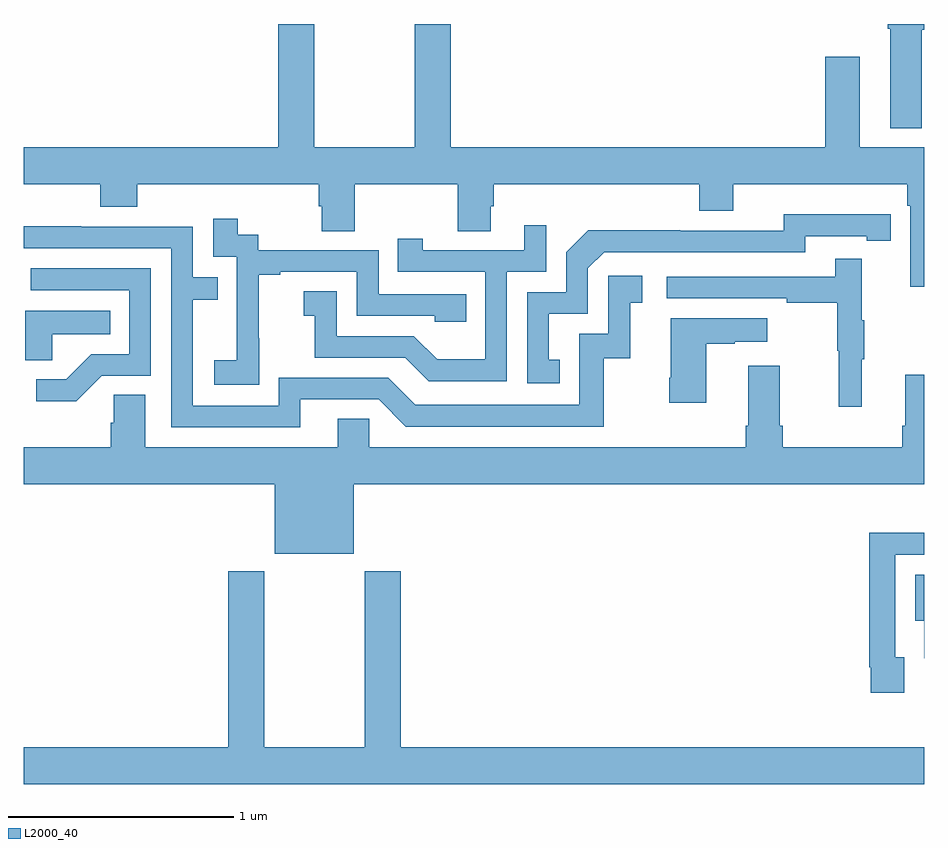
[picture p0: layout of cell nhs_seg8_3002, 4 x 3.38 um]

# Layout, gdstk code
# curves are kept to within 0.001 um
import gdstk
lib = gdstk.Library(unit=1e-6, precision=1e-09)
def P(c, l, *ps):  # polygons
    for p in ps: c.add(gdstk.Polygon(p, *l))
L2000_40 = (2000, 40)

nhs_seg8_3002 = lib.new_cell('nhs_seg8_3002')
P(nhs_seg8_3002, L2000_40, [(303,1095.352),(302.713,1095.352),(302.713,1095.754),(302.561,1095.754),(302.561,1095.352),(300.896,1095.352),(300.896,1095.9),(300.736,1095.9),(300.736,1095.352),(300.291,1095.352),(300.291,1095.9),(300.131,1095.9),(300.131,1095.352),(299,1095.352),(299,1095.188),(299.339,1095.188),(299.339,1095.089),(299.504,1095.089),(299.504,1095.188),(300.311,1095.188),(300.311,1095.09),(300.323,1095.09),(300.323,1094.98),(300.471,1094.98),(300.471,1095.188),(300.928,1095.188),(300.928,1094.98),(301.075,1094.98),(301.075,1095.09),(301.088,1095.09),(301.088,1095.188),(302,1095.188),(302,1095.071),(302.152,1095.071),(302.152,1095.188),(302.924,1095.188),(302.924,1095.092),(302.937,1095.092),(302.937,1094.733),(303,1094.733)],
  [(302.989,1095.875),(303,1095.875),(303,1095.9),(302.837,1095.9),(302.837,1095.879),(302.849,1095.879),(302.849,1095.437),(302.989,1095.437)],
  [(301.382,1094.409),(301.333,1094.409),(301.333,1094.613),(301.506,1094.613),(301.506,1094.814),(301.578,1094.886),(302.472,1094.886),(302.472,1094.958),(302.744,1094.958),(302.744,1094.938),(302.852,1094.938),(302.852,1095.054),(302.376,1095.055),(302.376,1094.982),(301.916,1094.982),(301.916,1094.984),(301.508,1094.984),(301.41,1094.886),(301.41,1094.709),(301.236,1094.709),(301.236,1094.304),(301.382,1094.304)],
  [(300.045,1094.503),(300.044,1094.503),(300.044,1094.787),(300.139,1094.787),(300.139,1094.799),(300.48,1094.799),(300.48,1094.604),(300.825,1094.604),(300.825,1094.577),(300.965,1094.577),(300.965,1094.7),(300.576,1094.7),(300.576,1094.895),(300.042,1094.895),(300.042,1094.964),(299.95,1094.964),(299.95,1095.034),(299.841,1095.034),(299.841,1094.865),(299.946,1094.865),(299.946,1094.636),(299.945,1094.636),(299.945,1094.407),(299.847,1094.407),(299.847,1094.297),(300.045,1094.297)],
  [(301.146,1094.799),(301.32,1094.799),(301.32,1095.007),(301.223,1095.007),(301.223,1094.895),(300.772,1094.895),(300.772,1094.947),(300.661,1094.947),(300.661,1094.799),(301.05,1094.799),(301.05,1094.41),(300.836,1094.41),(300.732,1094.514),(300.39,1094.514),(300.39,1094.713),(300.243,1094.713),(300.243,1094.603),(300.292,1094.603),(300.292,1094.418),(300.695,1094.418),(300.8,1094.313),(301.146,1094.313)],
  [(300.229,1094.232),(300.576,1094.232),(300.696,1094.112),(301.576,1094.112),(301.576,1094.415),(301.694,1094.415),(301.694,1094.661),(301.747,1094.661),(301.747,1094.782),(301.596,1094.782),(301.596,1094.523),(301.467,1094.523),(301.467,1094.208),(300.738,1094.208),(300.618,1094.328),(300.132,1094.328),(300.132,1094.205),(299.751,1094.205),(299.751,1094.674),(299.861,1094.674),(299.861,1094.775),(299.751,1094.775),(299.751,1095),(299.255,1095),(299.255,1095.002),(299,1095.002),(299,1094.904),(299.655,1094.904),(299.655,1094.109),(300.229,1094.109)],
  [(302.723,1094.411),(302.734,1094.411),(302.734,1094.585),(302.723,1094.585),(302.723,1094.857),(302.605,1094.857),(302.605,1094.778),(301.857,1094.778),(301.857,1094.682),(302.389,1094.682),(302.389,1094.662),(302.613,1094.662),(302.613,1094.448),(302.62,1094.448),(302.62,1094.199),(302.723,1094.199)],
  [(299.346,1094.337),(299.565,1094.337),(299.565,1094.814),(299.031,1094.814),(299.031,1094.718),(299.469,1094.718),(299.469,1094.433),(299.3,1094.433),(299.189,1094.322),(299.055,1094.322),(299.055,1094.225),(299.233,1094.225)],
  [(299.127,1094.522),(299.384,1094.522),(299.384,1094.626),(299.006,1094.626),(299.006,1094.407),(299.127,1094.407)],
  [(302.032,1094.479),(302.159,1094.479),(302.159,1094.489),(302.302,1094.489),(302.302,1094.593),(301.874,1094.593),(301.874,1094.329),(301.867,1094.329),(301.867,1094.217),(302.032,1094.217)],
  [(300.466,1093.856),(303,1093.856),(303,1094.341),(302.915,1094.341),(302.915,1094.116),(302.903,1094.116),(302.903,1094.02),(302.372,1094.02),(302.372,1094.116),(302.359,1094.116),(302.359,1094.383),(302.219,1094.383),(302.219,1094.116),(302.207,1094.116),(302.207,1094.02),(300.534,1094.02),(300.534,1094.147),(300.395,1094.147),(300.395,1094.02),(299.539,1094.02),(299.539,1094.252),(299.4,1094.252),(299.4,1094.129),(299.387,1094.129),(299.387,1094.02),(299,1094.02),(299,1093.856),(300.116,1093.856),(300.116,1093.547),(300.466,1093.547)],
  [(302.911,1093.086),(302.871,1093.086),(302.871,1093.542),(303,1093.542),(303,1093.64),(302.755,1093.64),(302.755,1093.042),(302.763,1093.042),(302.763,1092.93),(302.911,1092.93)],
  [(303,1092.688),(300.674,1092.688),(300.674,1093.468),(300.514,1093.468),(300.514,1092.688),(300.069,1092.688),(300.069,1093.468),(299.909,1093.468),(299.909,1092.688),(299,1092.688),(299,1092.524),(303,1092.524)],
  [(303,1093.453),(302.96,1093.453),(302.96,1093.25),(302.999,1093.25),(302.999,1093.082),(303,1093.082)])

lib.write_gds('nhs_seg8_3002.gds')
